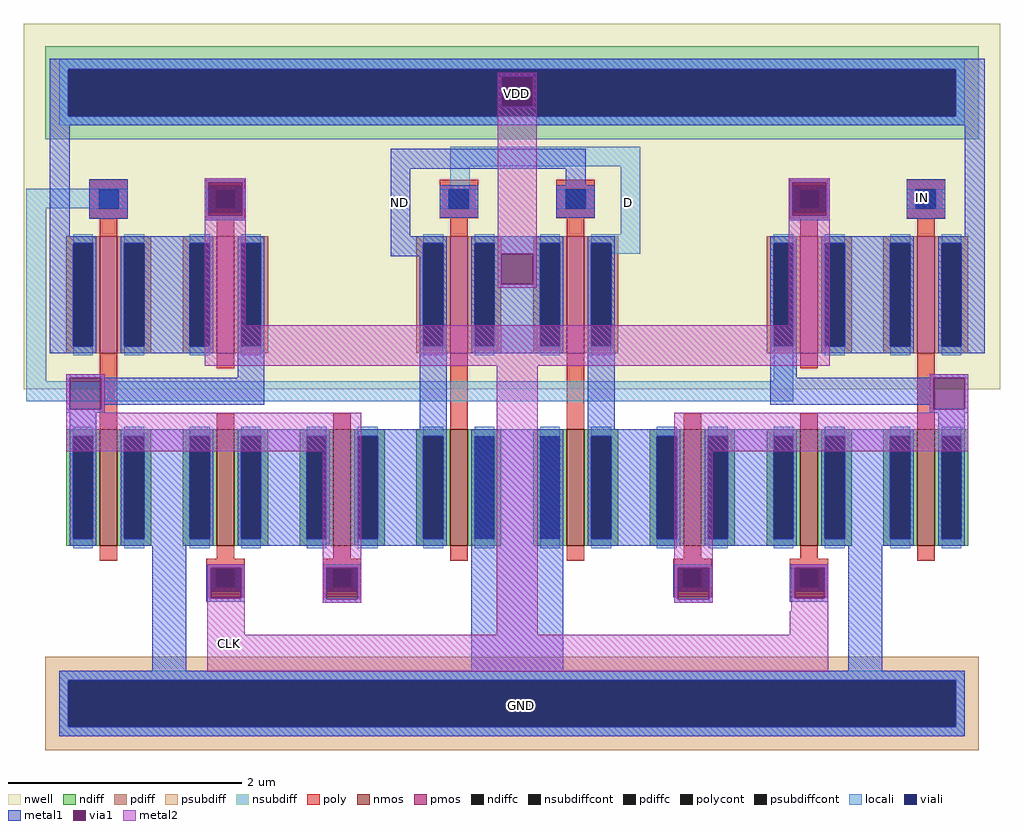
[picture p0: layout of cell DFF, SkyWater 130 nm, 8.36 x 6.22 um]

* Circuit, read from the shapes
.subckt DFF VDD GND CLK IN ND D
XM1 GND n1 n2 GND sky130_fd_pr__nfet_01v8 w=1 l=0.15
XM2 n3 CLK GND GND sky130_fd_pr__nfet_01v8 w=1 l=0.15
XM3 ND n2 n3 GND sky130_fd_pr__nfet_01v8 w=1 l=0.15
XM4 GND D ND GND sky130_fd_pr__nfet_01v8 w=1 l=0.15
XM5 D ND GND GND sky130_fd_pr__nfet_01v8 w=1 l=0.15
XM6 n4 n1 D GND sky130_fd_pr__nfet_01v8 w=1 l=0.15
XM7 GND CLK n4 GND sky130_fd_pr__nfet_01v8 w=1 l=0.15
XM8 n1 IN GND GND sky130_fd_pr__nfet_01v8 w=1 l=0.15
XM9 n5 n1 VDD VDD sky130_fd_pr__pfet_01v8 w=1 l=0.15
XM10 n2 CLK n5 VDD sky130_fd_pr__pfet_01v8 w=1 l=0.15
XM11 VDD D ND VDD sky130_fd_pr__pfet_01v8 w=1 l=0.15
XM12 D ND VDD VDD sky130_fd_pr__pfet_01v8 w=1 l=0.15
XM13 n6 CLK n1 VDD sky130_fd_pr__pfet_01v8 w=1 l=0.15
XM14 VDD IN n6 VDD sky130_fd_pr__pfet_01v8 w=1 l=0.15
.ends

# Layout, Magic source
magic
tech sky130A
magscale 1 2
<< nwell >>
rect -636 0 1036 626
<< psubdiff >>
rect -600 -498 1000 -458
rect -600 -578 -560 -498
rect 960 -578 1000 -498
rect -600 -618 1000 -578
<< nsubdiff >>
rect -600 548 1000 588
rect -600 468 -560 548
rect 960 468 1000 548
rect -600 428 1000 468
<< psubdiffcont >>
rect -560 -578 960 -498
<< nsubdiffcont >>
rect -560 468 960 548
<< poly >>
rect -506 -42 -476 36
rect 94 -42 124 36
rect 294 -42 324 36
rect 894 -42 924 36
<< locali >>
rect -576 548 976 566
rect -576 468 -560 548
rect 960 468 976 548
rect -576 452 976 468
rect 94 382 420 416
rect -632 310 -458 344
rect 94 342 128 382
rect -632 14 -598 310
rect 386 266 420 382
rect 370 232 420 266
rect 648 14 682 58
rect -632 -20 682 14
rect -576 -498 976 -482
rect -576 -578 -560 -498
rect 960 -578 976 -498
rect -576 -594 976 -578
<< viali >>
rect -560 468 960 548
rect -560 -578 960 -498
<< metal1 >>
rect -592 548 1010 566
rect -592 468 -560 548
rect 960 468 1010 548
rect -592 452 1010 468
rect -592 62 -558 452
rect -8 378 326 412
rect -524 292 -458 360
rect -326 355 -256 362
rect -326 297 -320 355
rect -262 297 -256 355
rect -326 290 -256 297
rect -8 262 26 378
rect 292 350 326 378
rect 674 355 744 362
rect 76 294 142 350
rect 276 294 342 350
rect 674 297 680 355
rect 738 297 744 355
rect 674 290 744 297
rect 876 292 942 360
rect -424 62 -358 262
rect -8 228 42 262
rect 176 232 242 262
rect 176 180 182 232
rect 236 180 242 232
rect 176 62 242 180
rect 776 62 842 262
rect 976 62 1010 452
rect -564 20 -498 26
rect -270 20 -224 62
rect -564 -34 -558 20
rect -504 -26 -224 20
rect -504 -34 -498 -26
rect -564 -40 -498 -34
rect -558 -68 -512 -40
rect 42 -68 88 62
rect 330 -68 376 62
rect 642 20 688 62
rect 916 20 982 26
rect 642 -26 922 20
rect 916 -34 922 -26
rect 976 -34 982 20
rect 916 -40 982 -34
rect 930 -68 976 -40
rect -430 -268 -358 -68
rect -224 -268 -158 -68
rect -24 -268 42 -68
rect -416 -482 -358 -268
rect -324 -306 -258 -300
rect -324 -358 -316 -306
rect -264 -358 -258 -306
rect -324 -364 -258 -358
rect -124 -306 -58 -300
rect -124 -360 -118 -306
rect -64 -360 -58 -306
rect -124 -366 -58 -360
rect 130 -482 288 -68
rect 376 -268 442 -68
rect 576 -268 642 -68
rect 776 -268 842 -68
rect 476 -306 544 -300
rect 476 -356 484 -306
rect 478 -360 484 -356
rect 538 -360 544 -306
rect 478 -366 544 -360
rect 676 -306 742 -300
rect 676 -358 684 -306
rect 736 -358 742 -306
rect 676 -364 742 -358
rect 776 -482 834 -268
rect -576 -498 976 -482
rect -576 -578 -560 -498
rect 960 -578 976 -498
rect -576 -594 976 -578
<< via1 >>
rect 182 484 236 536
rect -320 297 -262 355
rect 680 297 738 355
rect 182 180 236 232
rect -558 -34 -504 20
rect 922 -34 976 20
rect -316 -358 -264 -306
rect -118 -360 -64 -306
rect 484 -360 538 -306
rect 684 -358 736 -306
<< metal2 >>
rect 176 536 242 542
rect 176 484 182 536
rect 236 484 242 536
rect -326 355 -256 362
rect -326 297 -320 355
rect -262 297 -256 355
rect -326 110 -256 297
rect 176 232 242 484
rect 176 180 182 232
rect 236 180 242 232
rect 176 174 242 180
rect 674 355 744 362
rect 674 297 680 355
rect 738 297 744 355
rect 674 110 744 297
rect -326 40 744 110
rect -564 20 -498 26
rect -564 -34 -558 20
rect -504 -34 -498 20
rect -564 -40 -498 -34
rect -564 -106 -58 -40
rect -322 -306 -258 -300
rect -322 -358 -316 -306
rect -264 -358 -258 -306
rect -322 -420 -258 -358
rect -124 -306 -58 -106
rect -124 -360 -118 -306
rect -64 -360 -58 -306
rect -124 -366 -58 -360
rect 174 -420 244 40
rect 916 20 982 26
rect 916 -34 922 20
rect 976 -34 982 20
rect 916 -40 982 -34
rect 478 -106 982 -40
rect 478 -306 544 -106
rect 478 -360 484 -306
rect 538 -360 544 -306
rect 478 -366 544 -360
rect 678 -306 742 -300
rect 678 -358 684 -306
rect 736 -358 742 -306
rect 678 -380 742 -358
rect 676 -420 742 -380
rect -322 -484 742 -420
use sky130_fd_pr__pfet_01v8_MA8JHN  sky130_fd_pr__pfet_01v8_MA8JHN_4
transform 1 0 -291 0 1 198
box -109 -198 109 164
use sky130_fd_pr__nfet_01v8_6H9P4D  sky130_fd_pr__nfet_01v8_6H9P4D_2
transform 1 0 -491 0 1 -168
box -73 -126 73 126
use sky130_fd_pr__pfet_01v8_MA8JHN  sky130_fd_pr__pfet_01v8_MA8JHN_5
transform 1 0 -491 0 1 198
box -109 -198 109 164
use sky130_fd_pr__nfet_01v8_59MFY5  sky130_fd_pr__nfet_01v8_59MFY5_1
transform 1 0 -291 0 1 -199
box -73 -157 73 157
use sky130_fd_pr__nfet_01v8_59MFY5  sky130_fd_pr__nfet_01v8_59MFY5_0
transform 1 0 -91 0 1 -199
box -73 -157 73 157
use sky130_fd_pr__pfet_01v8_MA8JHN  sky130_fd_pr__pfet_01v8_MA8JHN_0
transform 1 0 109 0 1 198
box -109 -198 109 164
use sky130_fd_pr__nfet_01v8_6H9P4D  sky130_fd_pr__nfet_01v8_6H9P4D_0
transform 1 0 109 0 1 -168
box -73 -126 73 126
use sky130_fd_pr__pfet_01v8_MA8JHN  sky130_fd_pr__pfet_01v8_MA8JHN_1
transform 1 0 309 0 1 198
box -109 -198 109 164
use sky130_fd_pr__nfet_01v8_6H9P4D  sky130_fd_pr__nfet_01v8_6H9P4D_1
transform 1 0 309 0 1 -168
box -73 -126 73 126
use sky130_fd_pr__nfet_01v8_59MFY5  sky130_fd_pr__nfet_01v8_59MFY5_2
transform 1 0 509 0 1 -199
box -73 -157 73 157
use sky130_fd_pr__pfet_01v8_MA8JHN  sky130_fd_pr__pfet_01v8_MA8JHN_2
transform 1 0 709 0 1 198
box -109 -198 109 164
use sky130_fd_pr__nfet_01v8_59MFY5  sky130_fd_pr__nfet_01v8_59MFY5_3
transform 1 0 709 0 1 -199
box -73 -157 73 157
use sky130_fd_pr__nfet_01v8_6H9P4D  sky130_fd_pr__nfet_01v8_6H9P4D_3
transform 1 0 909 0 1 -168
box -73 -126 73 126
use sky130_fd_pr__pfet_01v8_MA8JHN  sky130_fd_pr__pfet_01v8_MA8JHN_3
transform 1 0 909 0 1 198
box -109 -198 109 164
<< labels >>
flabel via1 208 506 208 506 0 FreeSans 480 0 0 0 VDD
port 0 nsew
flabel viali 216 -542 216 -542 0 FreeSans 480 0 0 0 GND
port 1 nsew
flabel metal2 -284 -436 -284 -436 0 FreeSans 480 0 0 0 CLK
port 2 nsew
flabel metal1 904 328 904 328 0 FreeSans 480 0 0 0 IN
port 3 nsew
flabel metal1 8 320 8 320 0 FreeSans 480 0 0 0 ND
port 4 nsew
flabel locali 400 320 400 320 0 FreeSans 480 0 0 0 D
port 5 nsew
<< end >>

# cell sky130_fd_pr__pfet_01v8_MA8JHN: kit device sky130_fd_pr__pfet_01v8, w 1 l 0.15 m 1 nf 1 diffcov 100 polycov 100 guard 0 glc 1 grc 1 gtc 1 gbc 1 tbcov 100 rlcov 100 topc 1 botc 0 poverlap 0 doverlap 1 lmin 0.15 wmin 0.42 compatible {sky130_fd_pr__pfet_01v8 sky130_fd_pr__pfet_01v8_lvt sky130_fd_pr__pfet_01v8_hvt sky130_fd_pr__pfet_g5v0d10v5} full_metal 1 viasrc 100 viadrn 100 viagate 100 viagb 0 viagr 0 viagl 0 viagt 0

# cell sky130_fd_pr__nfet_01v8_6H9P4D: kit device sky130_fd_pr__nfet_01v8, w 1 l 0.150 m 1 nf 1 diffcov 100 polycov 100 guard 0 glc 1 grc 1 gtc 1 gbc 1 tbcov 100 rlcov 100 topc 0 botc 0 poverlap 0 doverlap 1 lmin 0.15 wmin 0.42 compatible {sky130_fd_pr__nfet_01v8 sky130_fd_pr__nfet_01v8_lvt sky130_fd_bs_flash__special_sonosfet_star sky130_fd_pr__nfet_g5v0d10v5 sky130_fd_pr__nfet_05v0_nvt sky130_fd_pr__nfet_03v3_nvt} full_metal 1 viasrc 100 viadrn 100 viagate 100 viagb 0 viagr 0 viagl 0 viagt 0

# cell sky130_fd_pr__nfet_01v8_59MFY5: kit device sky130_fd_pr__nfet_01v8, w 1 l 0.150 m 1 nf 1 diffcov 100 polycov 100 guard 0 glc 1 grc 1 gtc 1 gbc 1 tbcov 100 rlcov 100 topc 0 botc 1 poverlap 0 doverlap 1 lmin 0.15 wmin 0.42 compatible {sky130_fd_pr__nfet_01v8 sky130_fd_pr__nfet_01v8_lvt sky130_fd_bs_flash__special_sonosfet_star sky130_fd_pr__nfet_g5v0d10v5 sky130_fd_pr__nfet_05v0_nvt sky130_fd_pr__nfet_03v3_nvt} full_metal 1 viasrc 100 viadrn 100 viagate 100 viagb 0 viagr 0 viagl 0 viagt 0
